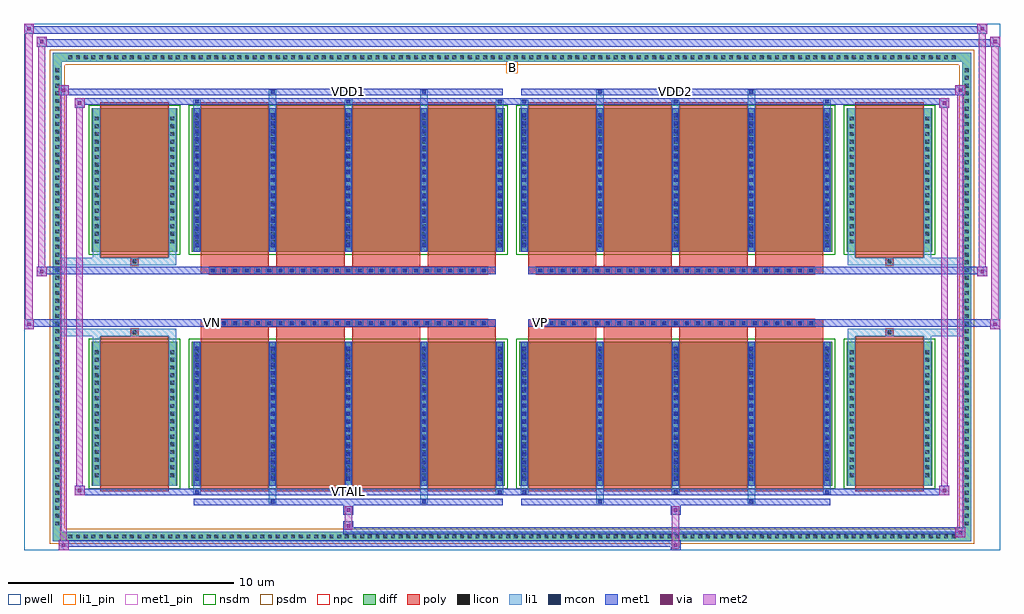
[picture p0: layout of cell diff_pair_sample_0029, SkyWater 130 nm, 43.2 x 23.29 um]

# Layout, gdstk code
import gdstk
lib = gdstk.Library(unit=1e-6, precision=5e-09)
def R(c, l, rs):  # rectangles x0, y0, x1, y1
    for r in rs: c.add(gdstk.rectangle(r[:2], r[2:], *l))
def A(c, l, x, y, w, h, nx, ny, dx, dy):  # array of equal rectangles
    R(c, l, [(x+i*dx, y+j*dy, x+i*dx+w, y+j*dy+h) for i in range(nx) for j in range(ny)])
def P(c, l, *ps):  # polygons
    for p in ps: c.add(gdstk.Polygon(p, *l))
pwell = (64, 44)
diff = (65, 20)
poly = (66, 20)
licon = (66, 44)
li1_pin = (67, 16)
li1 = (67, 20)
mcon = (67, 44)
met1_pin = (68, 16)
met1 = (68, 20)
via = (68, 44)
met2 = (69, 20)
nsdm = (93, 44)
psdm = (94, 20)
npc = (95, 20)

diff_pair_sample_0029 = lib.new_cell('diff_pair_sample_0029')
R(diff_pair_sample_0029, pwell, [(-21.6,-11.21,21.6,12.08), (-18.92,-9.4,-0.01,-0.8), (0.01,-9.4,18.92,-0.8), (-18.92,0.8,-0.01,9.4), (0.01,0.8,18.92,9.4)])
A(diff_pair_sample_0029, diff, -19.755, -10.81, 0.41, 0.41, 116, 2, 0.34, 21.21)
A(diff_pair_sample_0029, diff, -20.33, -10.235, 0.41, 0.41, 1, 60, 0, 0.34)
A(diff_pair_sample_0029, diff, 19.92, -10.235, 0.41, 0.41, 1, 60, 0, 0.34)
R(diff_pair_sample_0029, diff, [(-19.755,-10.81,19.755,-10.4), (-20.33,-10.235,-19.92,10.235), (19.92,-10.235,20.33,10.235), (-18.61,-8.355,-14.81,-1.985), (-14.17,-8.355,-0.32,-1.985), (0.32,-8.355,14.17,-1.985), (14.81,-8.355,18.61,-1.985), (-18.61,1.985,-14.81,8.355), (-14.17,1.985,-0.32,8.355), (0.32,1.985,14.17,8.355), (14.81,1.985,18.61,8.355), (-19.755,10.4,19.755,10.81)])
P(diff_pair_sample_0029, diff, [(20.33,10.81),(-20.33,10.81),(-20.33,-10.4),(-19.92,-10.4),(-19.92,10.4),(19.92,10.4),(19.92,-10.4),(-19.92,-10.4),(-20.33,-10.4),(-20.33,-10.81),(20.33,-10.81)])
A(diff_pair_sample_0029, poly, -13.78, -8.605, 3.02, 6.87, 4, 2, 3.35, 10.34)
A(diff_pair_sample_0029, poly, 0.71, -8.605, 3.02, 6.87, 4, 2, 3.35, 10.34)
A(diff_pair_sample_0029, poly, -13.78, -1.735, 3.02, 0.405, 4, 2, 3.35, 3.065)
A(diff_pair_sample_0029, poly, 0.71, -1.735, 3.02, 0.405, 4, 2, 3.35, 3.065)
A(diff_pair_sample_0029, poly, -13.41, -1.33, 0.33, 0.33, 25, 2, 0.5, 2.33)
A(diff_pair_sample_0029, poly, 1.08, -1.33, 0.33, 0.33, 25, 2, 0.5, 2.33)
R(diff_pair_sample_0029, poly, [(-18.22,-8.605,-15.2,-1.735), (15.2,-8.605,18.22,-1.735), (-16.875,-1.735,-16.545,-1.405), (-16.875,-1.735,-16.545,-1.405), (16.545,-1.735,16.875,-1.405), (16.545,-1.735,16.875,-1.405), (-13.78,-1.33,-0.71,-1), (0.71,-1.33,13.78,-1), (-13.78,1,-0.71,1.33), (0.71,1,13.78,1.33), (-16.875,1.405,-16.545,1.735), (-16.875,1.405,-16.545,1.735), (16.545,1.405,16.875,1.735), (16.545,1.405,16.875,1.735), (-18.22,1.735,-15.2,8.605), (15.2,1.735,18.22,8.605)])
A(diff_pair_sample_0029, licon, -19.635, -10.69, 0.17, 0.17, 116, 2, 0.34, 21.21)
A(diff_pair_sample_0029, licon, -20.21, -10.115, 0.17, 0.17, 1, 60, 0, 0.34)
A(diff_pair_sample_0029, licon, 20.04, -10.115, 0.17, 0.17, 1, 60, 0, 0.34)
A(diff_pair_sample_0029, licon, -18.47, -7.975, 0.17, 0.17, 1, 17, 0, 0.34)
A(diff_pair_sample_0029, licon, -15.12, -7.975, 0.17, 0.17, 1, 17, 0, 0.34)
A(diff_pair_sample_0029, licon, -14.03, -7.975, 0.17, 0.17, 5, 17, 3.35, 0.34)
A(diff_pair_sample_0029, licon, 0.46, -7.975, 0.17, 0.17, 5, 17, 3.35, 0.34)
A(diff_pair_sample_0029, licon, 14.95, -7.975, 0.17, 0.17, 1, 17, 0, 0.34)
A(diff_pair_sample_0029, licon, 18.3, -7.975, 0.17, 0.17, 1, 17, 0, 0.34)
A(diff_pair_sample_0029, licon, -13.33, -1.25, 0.17, 0.17, 25, 2, 0.5, 2.33)
A(diff_pair_sample_0029, licon, 1.16, -1.25, 0.17, 0.17, 25, 2, 0.5, 2.33)
A(diff_pair_sample_0029, licon, -18.47, 2.365, 0.17, 0.17, 1, 17, 0, 0.34)
A(diff_pair_sample_0029, licon, -15.12, 2.365, 0.17, 0.17, 1, 17, 0, 0.34)
A(diff_pair_sample_0029, licon, -14.03, 2.365, 0.17, 0.17, 5, 17, 3.35, 0.34)
A(diff_pair_sample_0029, licon, 0.46, 2.365, 0.17, 0.17, 5, 17, 3.35, 0.34)
A(diff_pair_sample_0029, licon, 14.95, 2.365, 0.17, 0.17, 1, 17, 0, 0.34)
A(diff_pair_sample_0029, licon, 18.3, 2.365, 0.17, 0.17, 1, 17, 0, 0.34)
R(diff_pair_sample_0029, licon, [(-16.795,-1.655,-16.625,-1.485), (16.625,-1.655,16.795,-1.485), (-16.795,1.485,-16.625,1.655), (16.625,1.485,16.795,1.655)])
R(diff_pair_sample_0029, li1_pin, [(-0.25,9.9,0.25,10.4)])
A(diff_pair_sample_0029, li1, -19.715, -10.77, 0.33, 0.33, 116, 2, 0.34, 21.21)
A(diff_pair_sample_0029, li1, -20.29, -10.195, 0.33, 0.33, 1, 60, 0, 0.34)
A(diff_pair_sample_0029, li1, 19.96, -10.195, 0.33, 0.33, 1, 60, 0, 0.34)
A(diff_pair_sample_0029, li1, -14.11, -8.73, 0.33, 0.375, 3, 2, 6.7, 17.085)
A(diff_pair_sample_0029, li1, -14.03, -8.73, 0.17, 0.17, 3, 2, 6.7, 17.29)
A(diff_pair_sample_0029, li1, 0.38, -8.73, 0.33, 0.375, 3, 2, 6.7, 17.085)
A(diff_pair_sample_0029, li1, 0.46, -8.73, 0.17, 0.17, 3, 2, 6.7, 17.29)
A(diff_pair_sample_0029, li1, -14.11, -8.355, 0.33, 6.37, 5, 2, 3.35, 10.34)
A(diff_pair_sample_0029, li1, 0.38, -8.355, 0.33, 6.37, 5, 2, 3.35, 10.34)
A(diff_pair_sample_0029, li1, -14.03, -8.135, 0.17, 0.17, 5, 17, 3.35, 0.36)
A(diff_pair_sample_0029, li1, -14.03, -8.135, 0.17, 5.93, 5, 2, 3.35, 10.34)
A(diff_pair_sample_0029, li1, 0.46, -8.135, 0.17, 0.17, 5, 17, 3.35, 0.36)
A(diff_pair_sample_0029, li1, 0.46, -8.135, 0.17, 5.93, 5, 2, 3.35, 10.34)
A(diff_pair_sample_0029, li1, -18.55, -8.055, 0.33, 0.33, 1, 17, 0, 0.34)
A(diff_pair_sample_0029, li1, -15.2, -8.055, 0.33, 0.33, 1, 17, 0, 0.34)
A(diff_pair_sample_0029, li1, -14.11, -8.055, 0.33, 0.33, 5, 17, 3.35, 0.34)
A(diff_pair_sample_0029, li1, 0.38, -8.055, 0.33, 0.33, 5, 17, 3.35, 0.34)
A(diff_pair_sample_0029, li1, 14.87, -8.055, 0.33, 0.33, 1, 17, 0, 0.34)
A(diff_pair_sample_0029, li1, 18.22, -8.055, 0.33, 0.33, 1, 17, 0, 0.34)
A(diff_pair_sample_0029, li1, -13.41, -1.33, 0.33, 0.33, 25, 2, 0.5, 2.33)
A(diff_pair_sample_0029, li1, 1.08, -1.33, 0.33, 0.33, 25, 2, 0.5, 2.33)
A(diff_pair_sample_0029, li1, -14.03, 2.205, 0.17, 0.17, 5, 17, 3.35, 0.36)
A(diff_pair_sample_0029, li1, 0.46, 2.205, 0.17, 0.17, 5, 17, 3.35, 0.36)
A(diff_pair_sample_0029, li1, -18.55, 2.285, 0.33, 0.33, 1, 17, 0, 0.34)
A(diff_pair_sample_0029, li1, -15.2, 2.285, 0.33, 0.33, 1, 17, 0, 0.34)
A(diff_pair_sample_0029, li1, -14.11, 2.285, 0.33, 0.33, 5, 17, 3.35, 0.34)
A(diff_pair_sample_0029, li1, 0.38, 2.285, 0.33, 0.33, 5, 17, 3.35, 0.34)
A(diff_pair_sample_0029, li1, 14.87, 2.285, 0.33, 0.33, 1, 17, 0, 0.34)
A(diff_pair_sample_0029, li1, 18.22, 2.285, 0.33, 0.33, 1, 17, 0, 0.34)
R(diff_pair_sample_0029, li1, [(-20.33,-10.81,-19.92,-10.4), (-20.33,-10.81,-19.92,-10.4), (-19.92,-10.81,19.92,-10.4), (19.92,-10.81,20.33,-10.4), (19.92,-10.81,20.33,-10.4), (-20.33,-10.4,-19.92,10.4), (19.92,-10.4,20.33,10.4), (-10.76,-9.16,-10.43,-8.355), (-10.68,-9.16,-10.51,-8.99), (-4.06,-9.16,-3.73,-8.355), (-3.98,-9.16,-3.81,-8.99), (3.73,-9.16,4.06,-8.355), (3.81,-9.16,3.98,-8.99), (10.43,-9.16,10.76,-8.355), (10.51,-9.16,10.68,-8.99), (-18.55,-8.355,-18.22,-1.985), (-15.2,-8.355,-14.87,-1.985), (14.87,-8.355,15.2,-1.985), (18.22,-8.355,18.55,-1.985), (-18.55,-1.985,-18.22,-1.405), (-15.2,-1.985,-14.87,-1.405), (14.87,-1.985,15.2,-1.405), (18.22,-1.985,18.55,-1.405), (-20.33,-1.735,-16.875,-1.405), (-18.55,-1.735,-16.875,-1.405), (-16.875,-1.735,-16.545,-1.405), (-16.545,-1.735,-14.87,-1.405), (14.87,-1.735,16.545,-1.405), (16.545,-1.735,16.875,-1.405), (16.545,-1.735,20.33,-1.405), (16.875,-1.735,18.55,-1.405), (-20.33,1.405,-16.875,1.735), (-18.55,1.405,-16.875,1.735), (-18.55,1.405,-18.22,1.985), (-16.875,1.405,-16.545,1.735), (-16.545,1.405,-14.87,1.735), (-15.2,1.405,-14.87,1.985), (14.87,1.405,16.545,1.735), (14.87,1.405,15.2,1.985), (16.545,1.405,16.875,1.735), (16.545,1.405,20.33,1.735), (16.875,1.405,18.55,1.735), (18.22,1.405,18.55,1.985), (-18.55,1.985,-18.22,8.355), (-15.2,1.985,-14.87,8.355), (14.87,1.985,15.2,8.355), (18.22,1.985,18.55,8.355), (-10.76,8.355,-10.43,9.16), (-4.06,8.355,-3.73,9.16), (3.73,8.355,4.06,9.16), (10.43,8.355,10.76,9.16), (-10.68,8.99,-10.51,9.16), (-3.98,8.99,-3.81,9.16), (3.81,8.99,3.98,9.16), (10.51,8.99,10.68,9.16), (-20.33,10.4,-19.92,10.81), (-20.33,10.4,-19.92,10.81), (-19.92,10.4,19.92,10.81), (19.92,10.4,20.33,10.81), (19.92,10.4,20.33,10.81)])
A(diff_pair_sample_0029, mcon, -14.03, -8.73, 0.17, 0.17, 3, 2, 6.7, 17.29)
A(diff_pair_sample_0029, mcon, 0.46, -8.73, 0.17, 0.17, 3, 2, 6.7, 17.29)
A(diff_pair_sample_0029, mcon, -14.03, -8.135, 0.17, 0.17, 5, 17, 3.35, 0.36)
A(diff_pair_sample_0029, mcon, 0.46, -8.135, 0.17, 0.17, 5, 17, 3.35, 0.36)
A(diff_pair_sample_0029, mcon, -13.33, -1.25, 0.17, 0.17, 25, 2, 0.5, 2.33)
A(diff_pair_sample_0029, mcon, 1.16, -1.25, 0.17, 0.17, 25, 2, 0.5, 2.33)
A(diff_pair_sample_0029, mcon, -14.03, 2.205, 0.17, 0.17, 5, 17, 3.35, 0.36)
A(diff_pair_sample_0029, mcon, 0.46, 2.205, 0.17, 0.17, 5, 17, 3.35, 0.36)
R(diff_pair_sample_0029, mcon, [(-10.68,-9.16,-10.51,-8.99), (-3.98,-9.16,-3.81,-8.99), (3.81,-9.16,3.98,-8.99), (10.51,-9.16,10.68,-8.99), (-10.68,8.99,-10.51,9.16), (-3.98,8.99,-3.81,9.16), (3.81,8.99,3.98,9.16), (10.51,8.99,10.68,9.16)])
R(diff_pair_sample_0029, met1_pin, [(-7.38,-8.77,-7.11,-8.5), (-13.38,-1.29,-13.11,-1.02), (1.11,-1.29,1.38,-1.02), (-7.38,8.95,-7.11,9.22), (7.11,8.95,7.38,9.22)])
A(diff_pair_sample_0029, met1, -14.09, -8.79, 0.29, 0.29, 3, 2, 6.7, 17.29)
A(diff_pair_sample_0029, met1, 0.4, -8.79, 0.29, 0.29, 3, 2, 6.7, 17.29)
A(diff_pair_sample_0029, met1, -14.09, -8.355, 0.29, 6.37, 5, 2, 3.35, 10.34)
A(diff_pair_sample_0029, met1, 0.4, -8.355, 0.29, 6.37, 5, 2, 3.35, 10.34)
A(diff_pair_sample_0029, met1, -14.09, -8.195, 0.29, 0.29, 5, 17, 3.35, 0.36)
A(diff_pair_sample_0029, met1, 0.4, -8.195, 0.29, 0.29, 5, 17, 3.35, 0.36)
A(diff_pair_sample_0029, met1, -13.39, -1.31, 0.29, 0.29, 25, 2, 0.5, 2.33)
A(diff_pair_sample_0029, met1, 1.1, -1.31, 0.29, 0.29, 25, 2, 0.5, 2.33)
A(diff_pair_sample_0029, met1, -14.09, 2.145, 0.29, 0.29, 5, 17, 3.35, 0.36)
A(diff_pair_sample_0029, met1, 0.4, 2.145, 0.29, 0.29, 5, 17, 3.35, 0.36)
R(diff_pair_sample_0029, met1, [(-20.06,-11.21,-19.63,-10.78), (7.03,-11.21,7.46,-10.78), (-20.06,-11.07,7.46,-10.78), (19.63,-10.64,20.06,-10.21), (-7.46,-10.5,20.06,-10.21), (-7.46,-10.36,-7.03,-9.93), (-7.46,-9.65,-7.03,-9.22), (7.03,-9.65,7.46,-9.22), (-14.09,-9.22,-0.4,-8.93), (-10.74,-9.22,-10.45,-8.93), (-4.04,-9.22,-3.75,-8.93), (0.4,-9.22,14.09,-8.93), (3.75,-9.22,4.04,-8.93), (10.45,-9.22,10.74,-8.93), (-19.35,-8.79,-18.92,-8.36), (-19.35,-8.79,-14.09,-8.5), (-14.09,-8.79,-0.4,-8.5), (-0.4,-8.79,0.4,-8.5), (0.4,-8.79,14.09,-8.5), (14.09,-8.79,19.35,-8.5), (18.92,-8.79,19.35,-8.36), (-21.6,-1.43,-21.17,-1), (21.17,-1.43,21.6,-1), (-21.6,-1.33,-0.71,-1), (-13.78,-1.33,-0.71,-1), (0.71,-1.33,13.78,-1), (0.71,-1.33,21.6,-1), (-21.03,0.9,-20.6,1.33), (20.6,0.9,21.03,1.33), (-21.03,1,-13.78,1.33), (-13.78,1,-0.71,1.33), (0.71,1,13.78,1.33), (13.78,1,21.03,1.33), (-19.35,8.36,-18.92,8.79), (18.92,8.36,19.35,8.79), (-19.35,8.5,-14.09,8.79), (-14.09,8.5,-0.4,8.79), (-0.4,8.5,0.4,8.79), (0.4,8.5,14.09,8.79), (14.09,8.5,19.35,8.79), (-20.06,8.93,-19.63,9.36), (-20.06,8.93,-14.09,9.22), (-14.09,8.93,-0.4,9.22), (-10.74,8.93,-10.45,9.22), (-4.04,8.93,-3.75,9.22), (0.4,8.93,14.09,9.22), (3.75,8.93,4.04,9.22), (10.45,8.93,10.74,9.22), (14.09,8.93,20.06,9.22), (19.63,8.93,20.06,9.36), (-21.03,11.08,-20.6,11.51), (-21.03,11.08,-18.92,11.41), (-18.92,11.08,18.92,11.41), (18.92,11.08,21.6,11.41), (21.17,11.08,21.6,11.51), (-21.6,11.65,-21.17,12.08), (-21.6,11.65,-18.92,11.98), (-18.92,11.65,18.92,11.98), (18.92,11.65,21.03,11.98), (20.6,11.65,21.03,12.08)])
R(diff_pair_sample_0029, via, [(-19.92,-11.07,-19.77,-10.92), (7.17,-11.07,7.32,-10.92), (19.77,-10.5,19.92,-10.35), (-7.32,-10.22,-7.17,-10.07), (-7.32,-9.51,-7.17,-9.36), (7.17,-9.51,7.32,-9.36), (-19.21,-8.65,-19.06,-8.5), (19.06,-8.65,19.21,-8.5), (-21.46,-1.29,-21.31,-1.14), (21.31,-1.29,21.46,-1.14), (-20.89,1.04,-20.74,1.19), (20.74,1.04,20.89,1.19), (-19.21,8.5,-19.06,8.65), (19.06,8.5,19.21,8.65), (-19.92,9.07,-19.77,9.22), (19.77,9.07,19.92,9.22), (-20.89,11.22,-20.74,11.37), (21.31,11.22,21.46,11.37), (-21.46,11.79,-21.31,11.94), (20.74,11.79,20.89,11.94)])
R(diff_pair_sample_0029, met2, [(-20.06,-11.21,-19.63,-10.78), (-19.99,-11.21,-19.7,9.36), (-19.7,-11.21,-19.63,-10.78), (-20.01,-11.16,-19.68,-10.83), (7.08,-11.16,7.41,-10.83), (7.08,-10.83,7.41,-9.6), (19.63,-10.64,20.06,-10.21), (19.7,-10.64,19.99,9.36), (19.99,-10.64,20.06,-10.21), (19.68,-10.59,20.01,-10.26), (-7.41,-10.31,-7.08,-9.98), (-7.41,-9.98,-7.08,-9.6), (-7.41,-9.6,-7.08,-9.27), (7.08,-9.6,7.41,-9.27), (-19.35,-8.79,-18.92,-8.36), (-19.28,-8.79,-18.99,8.79), (-18.99,-8.79,-18.92,-8.36), (18.92,-8.79,19.35,-8.36), (18.99,-8.79,19.28,8.79), (19.28,-8.79,19.35,-8.36), (-19.3,-8.74,-18.97,-8.41), (18.97,-8.74,19.3,-8.41), (-21.6,-1.43,-21.17,-1), (-21.55,-1.43,-21.22,12.08), (-21.22,-1.43,-21.17,-1), (21.17,-1.43,21.6,-1), (21.22,-1.43,21.55,11.51), (21.55,-1.43,21.6,-1), (-21.55,-1.38,-21.22,-1.05), (21.22,-1.38,21.55,-1.05), (-21.03,0.9,-20.6,1.33), (-20.98,0.9,-20.65,11.51), (-20.65,0.9,-20.6,1.33), (20.6,0.9,21.03,1.33), (20.65,0.9,20.98,12.08), (20.98,0.9,21.03,1.33), (-20.98,0.95,-20.65,1.28), (20.65,0.95,20.98,1.28), (-19.35,8.36,-18.92,8.79), (-18.99,8.36,-18.92,8.79), (18.92,8.36,19.35,8.79), (19.28,8.36,19.35,8.79), (-19.3,8.41,-18.97,8.74), (18.97,8.41,19.3,8.74), (-20.06,8.93,-19.63,9.36), (-19.7,8.93,-19.63,9.36), (19.63,8.93,20.06,9.36), (19.99,8.93,20.06,9.36), (-20.01,8.98,-19.68,9.31), (19.68,8.98,20.01,9.31), (-21.03,11.08,-20.6,11.51), (-20.65,11.08,-20.6,11.51), (21.17,11.08,21.6,11.51), (21.55,11.08,21.6,11.51), (-20.98,11.13,-20.65,11.46), (21.22,11.13,21.55,11.46), (-21.6,11.65,-21.17,12.08), (-21.22,11.65,-21.17,12.08), (20.6,11.65,21.03,12.08), (20.98,11.65,21.03,12.08), (-21.55,11.7,-21.22,12.03), (20.65,11.7,20.98,12.03)])
R(diff_pair_sample_0029, nsdm, [(-18.74,-8.485,-14.68,-1.855), (-14.3,-8.485,-0.19,-1.855), (0.19,-8.485,14.3,-1.855), (14.68,-8.485,18.74,-1.855), (-18.74,1.855,-14.68,8.485), (-14.3,1.855,-0.19,8.485), (0.19,1.855,14.3,8.485), (14.68,1.855,18.74,8.485)])
P(diff_pair_sample_0029, psdm, [(20.46,10.94),(-20.46,10.94),(-20.46,-10.27),(-19.79,-10.27),(-19.79,10.27),(19.79,10.27),(19.79,-10.27),(-19.79,-10.27),(-20.46,-10.27),(-20.46,-10.94),(20.46,-10.94)])
A(diff_pair_sample_0029, npc, -13.43, -1.35, 0.37, 0.37, 25, 2, 0.5, 2.33)
A(diff_pair_sample_0029, npc, 1.06, -1.35, 0.37, 0.37, 25, 2, 0.5, 2.33)
R(diff_pair_sample_0029, npc, [(-16.895,-1.755,-16.525,-1.385), (16.525,-1.755,16.895,-1.385), (-13.43,-1.35,-12.56,-0.98), (-13.43,-1.35,-12.56,-0.98), (-12.93,-1.35,-12.06,-0.98), (-12.93,-1.35,-12.06,-0.98), (-12.43,-1.35,-11.56,-0.98), (-12.43,-1.35,-11.56,-0.98), (-11.93,-1.35,-11.06,-0.98), (-11.93,-1.35,-11.06,-0.98), (-11.43,-1.35,-10.56,-0.98), (-11.43,-1.35,-10.56,-0.98), (-10.93,-1.35,-10.06,-0.98), (-10.93,-1.35,-10.06,-0.98), (-10.43,-1.35,-9.56,-0.98), (-10.43,-1.35,-9.56,-0.98), (-9.93,-1.35,-9.06,-0.98), (-9.93,-1.35,-9.06,-0.98), (-9.43,-1.35,-8.56,-0.98), (-9.43,-1.35,-8.56,-0.98), (-8.93,-1.35,-8.06,-0.98), (-8.93,-1.35,-8.06,-0.98), (-8.43,-1.35,-7.56,-0.98), (-8.43,-1.35,-7.56,-0.98), (-7.93,-1.35,-7.06,-0.98), (-7.93,-1.35,-7.06,-0.98), (-7.43,-1.35,-6.56,-0.98), (-7.43,-1.35,-6.56,-0.98), (-6.93,-1.35,-6.06,-0.98), (-6.93,-1.35,-6.06,-0.98), (-6.43,-1.35,-5.56,-0.98), (-6.43,-1.35,-5.56,-0.98), (-5.93,-1.35,-5.06,-0.98), (-5.93,-1.35,-5.06,-0.98), (-5.43,-1.35,-4.56,-0.98), (-5.43,-1.35,-4.56,-0.98), (-4.93,-1.35,-4.06,-0.98), (-4.93,-1.35,-4.06,-0.98), (-4.43,-1.35,-3.56,-0.98), (-4.43,-1.35,-3.56,-0.98), (-3.93,-1.35,-3.06,-0.98), (-3.93,-1.35,-3.06,-0.98), (-3.43,-1.35,-2.56,-0.98), (-3.43,-1.35,-2.56,-0.98), (-2.93,-1.35,-2.06,-0.98), (-2.93,-1.35,-2.06,-0.98), (-2.43,-1.35,-1.56,-0.98), (-2.43,-1.35,-1.56,-0.98), (-1.93,-1.35,-1.06,-0.98), (-1.93,-1.35,-1.06,-0.98), (1.06,-1.35,1.93,-0.98), (1.06,-1.35,1.93,-0.98), (1.56,-1.35,2.43,-0.98), (1.56,-1.35,2.43,-0.98), (2.06,-1.35,2.93,-0.98), (2.06,-1.35,2.93,-0.98), (2.56,-1.35,3.43,-0.98), (2.56,-1.35,3.43,-0.98), (3.06,-1.35,3.93,-0.98), (3.06,-1.35,3.93,-0.98), (3.56,-1.35,4.43,-0.98), (3.56,-1.35,4.43,-0.98), (4.06,-1.35,4.93,-0.98), (4.06,-1.35,4.93,-0.98), (4.56,-1.35,5.43,-0.98), (4.56,-1.35,5.43,-0.98), (5.06,-1.35,5.93,-0.98), (5.06,-1.35,5.93,-0.98), (5.56,-1.35,6.43,-0.98), (5.56,-1.35,6.43,-0.98), (6.06,-1.35,6.93,-0.98), (6.06,-1.35,6.93,-0.98), (6.56,-1.35,7.43,-0.98), (6.56,-1.35,7.43,-0.98), (7.06,-1.35,7.93,-0.98), (7.06,-1.35,7.93,-0.98), (7.56,-1.35,8.43,-0.98), (7.56,-1.35,8.43,-0.98), (8.06,-1.35,8.93,-0.98), (8.06,-1.35,8.93,-0.98), (8.56,-1.35,9.43,-0.98), (8.56,-1.35,9.43,-0.98), (9.06,-1.35,9.93,-0.98), (9.06,-1.35,9.93,-0.98), (9.56,-1.35,10.43,-0.98), (9.56,-1.35,10.43,-0.98), (10.06,-1.35,10.93,-0.98), (10.06,-1.35,10.93,-0.98), (10.56,-1.35,11.43,-0.98), (10.56,-1.35,11.43,-0.98), (11.06,-1.35,11.93,-0.98), (11.06,-1.35,11.93,-0.98), (11.56,-1.35,12.43,-0.98), (11.56,-1.35,12.43,-0.98), (12.06,-1.35,12.93,-0.98), (12.06,-1.35,12.93,-0.98), (12.56,-1.35,13.43,-0.98), (12.56,-1.35,13.43,-0.98), (-13.43,0.98,-12.56,1.35), (-13.43,0.98,-12.56,1.35), (-12.93,0.98,-12.06,1.35), (-12.93,0.98,-12.06,1.35), (-12.43,0.98,-11.56,1.35), (-12.43,0.98,-11.56,1.35), (-11.93,0.98,-11.06,1.35), (-11.93,0.98,-11.06,1.35), (-11.43,0.98,-10.56,1.35), (-11.43,0.98,-10.56,1.35), (-10.93,0.98,-10.06,1.35), (-10.93,0.98,-10.06,1.35), (-10.43,0.98,-9.56,1.35), (-10.43,0.98,-9.56,1.35), (-9.93,0.98,-9.06,1.35), (-9.93,0.98,-9.06,1.35), (-9.43,0.98,-8.56,1.35), (-9.43,0.98,-8.56,1.35), (-8.93,0.98,-8.06,1.35), (-8.93,0.98,-8.06,1.35), (-8.43,0.98,-7.56,1.35), (-8.43,0.98,-7.56,1.35), (-7.93,0.98,-7.06,1.35), (-7.93,0.98,-7.06,1.35), (-7.43,0.98,-6.56,1.35), (-7.43,0.98,-6.56,1.35), (-6.93,0.98,-6.06,1.35), (-6.93,0.98,-6.06,1.35), (-6.43,0.98,-5.56,1.35), (-6.43,0.98,-5.56,1.35), (-5.93,0.98,-5.06,1.35), (-5.93,0.98,-5.06,1.35), (-5.43,0.98,-4.56,1.35), (-5.43,0.98,-4.56,1.35), (-4.93,0.98,-4.06,1.35), (-4.93,0.98,-4.06,1.35), (-4.43,0.98,-3.56,1.35), (-4.43,0.98,-3.56,1.35), (-3.93,0.98,-3.06,1.35), (-3.93,0.98,-3.06,1.35), (-3.43,0.98,-2.56,1.35), (-3.43,0.98,-2.56,1.35), (-2.93,0.98,-2.06,1.35), (-2.93,0.98,-2.06,1.35), (-2.43,0.98,-1.56,1.35), (-2.43,0.98,-1.56,1.35), (-1.93,0.98,-1.06,1.35), (-1.93,0.98,-1.06,1.35), (1.06,0.98,1.93,1.35), (1.06,0.98,1.93,1.35), (1.56,0.98,2.43,1.35), (1.56,0.98,2.43,1.35), (2.06,0.98,2.93,1.35), (2.06,0.98,2.93,1.35), (2.56,0.98,3.43,1.35), (2.56,0.98,3.43,1.35), (3.06,0.98,3.93,1.35), (3.06,0.98,3.93,1.35), (3.56,0.98,4.43,1.35), (3.56,0.98,4.43,1.35), (4.06,0.98,4.93,1.35), (4.06,0.98,4.93,1.35), (4.56,0.98,5.43,1.35), (4.56,0.98,5.43,1.35), (5.06,0.98,5.93,1.35), (5.06,0.98,5.93,1.35), (5.56,0.98,6.43,1.35), (5.56,0.98,6.43,1.35), (6.06,0.98,6.93,1.35), (6.06,0.98,6.93,1.35), (6.56,0.98,7.43,1.35), (6.56,0.98,7.43,1.35), (7.06,0.98,7.93,1.35), (7.06,0.98,7.93,1.35), (7.56,0.98,8.43,1.35), (7.56,0.98,8.43,1.35), (8.06,0.98,8.93,1.35), (8.06,0.98,8.93,1.35), (8.56,0.98,9.43,1.35), (8.56,0.98,9.43,1.35), (9.06,0.98,9.93,1.35), (9.06,0.98,9.93,1.35), (9.56,0.98,10.43,1.35), (9.56,0.98,10.43,1.35), (10.06,0.98,10.93,1.35), (10.06,0.98,10.93,1.35), (10.56,0.98,11.43,1.35), (10.56,0.98,11.43,1.35), (11.06,0.98,11.93,1.35), (11.06,0.98,11.93,1.35), (11.56,0.98,12.43,1.35), (11.56,0.98,12.43,1.35), (12.06,0.98,12.93,1.35), (12.06,0.98,12.93,1.35), (12.56,0.98,13.43,1.35), (12.56,0.98,13.43,1.35), (-16.895,1.385,-16.525,1.755), (16.525,1.385,16.895,1.755)])
diff_pair_sample_0029.add(gdstk.Label('VTAIL', (-7.245,-8.635), layer=68, texttype=5))
diff_pair_sample_0029.add(gdstk.Label('VN', (-13.245,-1.155), layer=68, texttype=5))
diff_pair_sample_0029.add(gdstk.Label('VP', (1.245,-1.155), layer=68, texttype=5))
diff_pair_sample_0029.add(gdstk.Label('B', (0,10.15), layer=67, texttype=5))
diff_pair_sample_0029.add(gdstk.Label('VDD2', (7.245,9.085), layer=68, texttype=5))
diff_pair_sample_0029.add(gdstk.Label('VDD1', (-7.245,9.085), layer=68, texttype=5))

lib.write_gds('diff_pair_sample_0029.gds')
